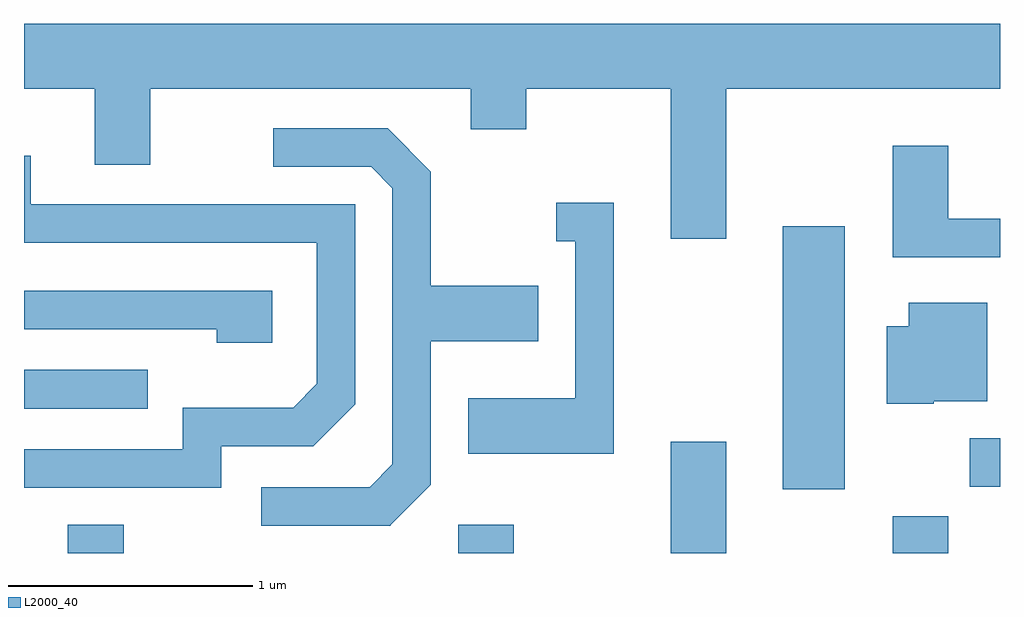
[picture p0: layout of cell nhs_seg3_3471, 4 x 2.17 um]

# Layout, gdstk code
import gdstk
lib = gdstk.Library(unit=1e-6, precision=1e-09)
def R(c, l, rs):  # rectangles x0, y0, x1, y1
    for r in rs: c.add(gdstk.rectangle(r[:2], r[2:], *l))
def P(c, l, *ps):  # polygons
    for p in ps: c.add(gdstk.Polygon(p, *l))
L2000_40 = (2000, 40)

nhs_seg3_3471 = lib.new_cell('nhs_seg3_3471')
R(nhs_seg3_3471, L2000_40, [(287.791,1121.892,288.019,1122.009), (289.391,1121.892,289.619,1122.009), (290.261,1121.892,290.489,1122.349), (291.171,1121.892,291.399,1122.044), (290.721,1122.156,290.974,1123.234), (291.486,1122.166,291.611,1122.364), (287.611,1122.486,288.118,1122.644)])
P(nhs_seg3_3471, L2000_40, [(290.489,1123.796),(291.611,1123.796),(291.611,1124.064),(287.611,1124.064),(287.611,1123.796),(287.901,1123.796),(287.901,1123.486),(288.129,1123.486),(288.129,1123.796),(289.441,1123.796),(289.441,1123.631),(289.669,1123.631),(289.669,1123.796),(290.261,1123.796),(290.261,1123.181),(290.489,1123.181)],
  [(289.118,1122.013),(289.279,1122.174),(289.279,1122.761),(289.719,1122.761),(289.719,1122.989),(289.279,1122.989),(289.279,1123.457),(289.102,1123.634),(288.633,1123.634),(288.633,1123.476),(289.034,1123.476),(289.121,1123.389),(289.121,1122.257),(289.029,1122.164),(288.583,1122.164),(288.583,1122.006),(289.112,1122.006)],
  [(291.611,1123.264),(291.399,1123.264),(291.399,1123.564),(291.171,1123.564),(291.171,1123.106),(291.611,1123.106)],
  [(288.419,1122.331),(288.797,1122.331),(288.969,1122.504),(288.969,1123.324),(287.639,1123.324),(287.639,1123.523),(287.611,1123.523),(287.611,1123.166),(288.811,1123.166),(288.811,1122.587),(288.714,1122.489),(288.261,1122.489),(288.261,1122.319),(287.611,1122.319),(287.611,1122.161),(288.419,1122.161)],
  [(290.029,1123.329),(289.793,1123.329),(289.793,1123.171),(289.871,1123.171),(289.871,1122.529),(289.431,1122.529),(289.431,1122.301),(290.029,1122.301)],
  [(288.629,1122.969),(287.611,1122.969),(287.611,1122.811),(288.401,1122.811),(288.401,1122.756),(288.629,1122.756)],
  [(291.34,1122.516),(291.559,1122.516),(291.559,1122.919),(291.236,1122.919),(291.236,1122.824),(291.146,1122.824),(291.146,1122.506),(291.34,1122.506)])

lib.write_gds('nhs_seg3_3471.gds')
